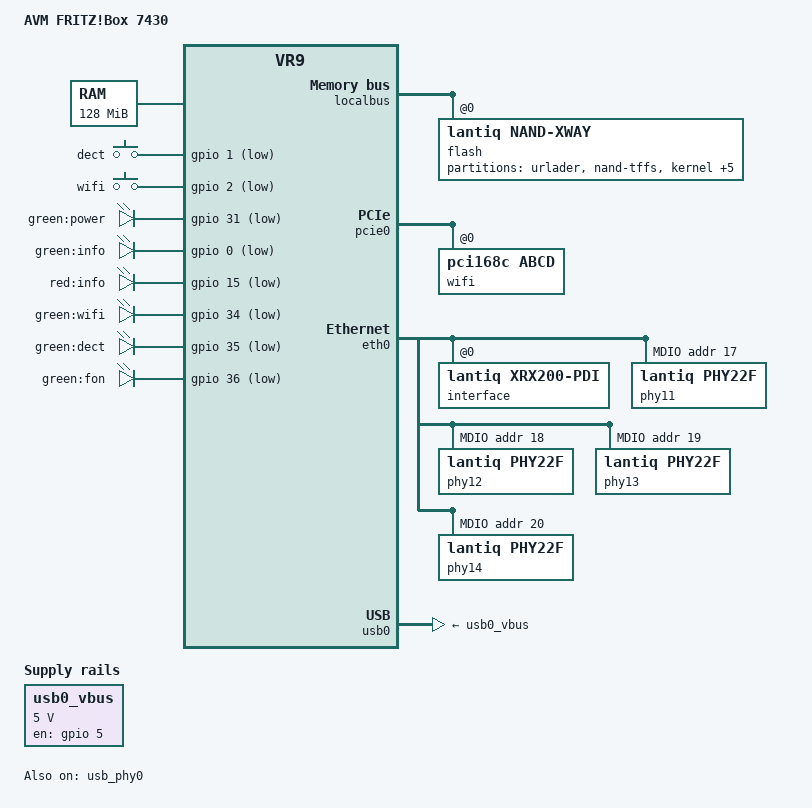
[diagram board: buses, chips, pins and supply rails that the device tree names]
// SPDX-License-Identifier: GPL-2.0-or-later OR MIT

#include "vr9.dtsi"

#include <dt-bindings/input/input.h>
#include <dt-bindings/mips/lantiq_rcu_gphy.h>

/ {
	compatible = "avm,fritz7430", "lantiq,xway", "lantiq,vr9";
	model = "AVM FRITZ!Box 7430";

	chosen {
		bootargs = "console=ttyLTQ0,115200";
	};

	aliases {
		led-boot = &led_power;
		led-failsafe = &led_info_red;
		led-running = &led_power;
		led-upgrade = &led_info_green;

		led-dsl = &led_info_green;
		led-wifi = &led_wifi;
	};

	memory@0 {
		device_type = "memory";
		reg = <0x0 0x8000000>;
	};

	keys {
		compatible = "gpio-keys-polled";
		poll-interval = <100>;

		dect {
			label = "dect";
			gpios = <&gpio 1 GPIO_ACTIVE_LOW>;
			linux,code = <KEY_PHONE>;
		};

		wifi {
			label = "wifi";
			gpios = <&gpio 2 GPIO_ACTIVE_LOW>;
			linux,code = <KEY_RFKILL>;
		};
	};

	leds {
		compatible = "gpio-leds";

		led_power: power {
			label = "green:power";
			gpios = <&gpio 31 GPIO_ACTIVE_LOW>;
			default-state = "keep";
		};

		led_info_green: info_green {
			label = "green:info";
			gpios = <&gpio 0 GPIO_ACTIVE_LOW>;
		};

		led_info_red: info_red {
			label = "red:info";
			gpios = <&gpio 15 GPIO_ACTIVE_LOW>;
		};

		led_wifi: wifi {
			label = "green:wifi";
			gpios = <&gpio 34 GPIO_ACTIVE_LOW>;
		};

		dect {
			label = "green:dect";
			gpios = <&gpio 35 GPIO_ACTIVE_LOW>;
		};

		fon {
			label = "green:fon";
			gpios = <&gpio 36 GPIO_ACTIVE_LOW>;
		};
	};

	usb0_vbus: regulator-usb0-vbus {
		compatible = "regulator-fixed";

		regulator-name = "USB0_VBUS";

		regulator-min-microvolt = <5000000>;
		regulator-max-microvolt = <5000000>;

		gpio = <&gpio 5 GPIO_ACTIVE_HIGH>;
		enable-active-high;
	};
};

&localbus {
	flash@0 {
		compatible = "lantiq,nand-xway";
		bank-width = <2>;
		reg = <0 0x0 0x8000000>;
		lantiq,cs = <1>;

		pinctrl-0 = <&nand_pins>, <&nand_cs1_pins>;
		pinctrl-names = "default";

		partitions {
			compatible = "fixed-partitions";
			#address-cells = <1>;
			#size-cells = <1>;

			partition@0 {
				label = "urlader";
				reg = <0x0 0x40000>;
				read-only;
			};

			partition@40000 {
				label = "nand-tffs";
				reg = <0x40000 0x400000>;
				read-only;
			};

			partition@440000 {
				label = "kernel";
				reg = <0x440000 0x400000>;
			};

			partition@840000 {
				label = "ubi";
				reg = <0x840000 0x3000000>;
			};

			partition@3840000 {
				label = "reserved-kernel";
				reg = <0x3840000 0x400000>;
				read-only;
			};

			partition@3c40000 {
				label = "reserved-filesystem";
				reg = <0x3c40000 0x3000000>;
				read-only;
			};

			partition@6c40000 {
				label = "config";
				reg = <0x6c40000 0x200000>;
				read-only;
			};

			partition@6e40000 {
				label = "nand-filesystem";
				reg = <0x6e40000 0x11c0000>;
				read-only;
			};
		};
	};
};

&pcie0 {
	status = "okay";

	gpio-reset = <&gpio 11 GPIO_ACTIVE_LOW>;

	pcie@0 {
		reg = <0 0 0 0 0>;
		#interrupt-cells = <1>;
		#size-cells = <2>;
		#address-cells = <3>;
		device_type = "pci";

		wifi@168c,abcd {
			compatible = "pci168c,abcd";
			reg = <0 0 0 0 0>;
			qca,no-eeprom; /* load from ath9k-eeprom-pci-0000:01:00.0.bin */
		};
	};
};

&gphy0 {
	lantiq,gphy-mode = <GPHY_MODE_FE>;
};

&gphy1 {
	lantiq,gphy-mode = <GPHY_MODE_FE>;
};

&eth0 {
	interface@0 {
		compatible = "lantiq,xrx200-pdi";
		#address-cells = <1>;
		#size-cells = <0>;
		reg = <0>;
		lantiq,switch;

		ethernet@2 {
			compatible = "lantiq,xrx200-pdi-port";
			reg = <2>;
			phy-mode = "mii";
			phy-handle = <&phy11>;
		};

		ethernet@3 {
			compatible = "lantiq,xrx200-pdi-port";
			reg = <3>;
			phy-mode = "mii";
			phy-handle = <&phy12>;
		};

		ethernet@4 {
			compatible = "lantiq,xrx200-pdi-port";
			reg = <4>;
			phy-mode = "mii";
			phy-handle = <&phy13>;
		};

		ethernet@5 {
			compatible = "lantiq,xrx200-pdi-port";
			reg = <5>;
			phy-mode = "mii";
			phy-handle = <&phy14>;
		};
	};

	mdio {
		#address-cells = <1>;
		#size-cells = <0>;
		compatible = "lantiq,xrx200-mdio";

		phy11: ethernet-phy@11 {
			reg = <0x11>;
			compatible = "lantiq,phy22f", "ethernet-phy-ieee802.3-c22";
		};

		phy12: ethernet-phy@12 {
			reg = <0x12>;
			compatible = "lantiq,phy22f", "ethernet-phy-ieee802.3-c22";
		};

		phy13: ethernet-phy@13 {
			reg = <0x13>;
			compatible = "lantiq,phy22f", "ethernet-phy-ieee802.3-c22";
		};

		phy14: ethernet-phy@14 {
			reg = <0x14>;
			compatible = "lantiq,phy22f", "ethernet-phy-ieee802.3-c22";
		};
	};
};

&gpio {
	pinctrl-names = "default";
	pinctrl-0 = <&state_default>;

	state_default: pinmux {
		pcie-rst {
			lantiq,pins = "io11";
			lantiq,open-drain = <1>;
			lantiq,output = <1>;
		};
	};
};

&usb_phy0 {
	status = "okay";
};

&usb0 {
	status = "okay";

	vbus-supply = <&usb0_vbus>;
};
